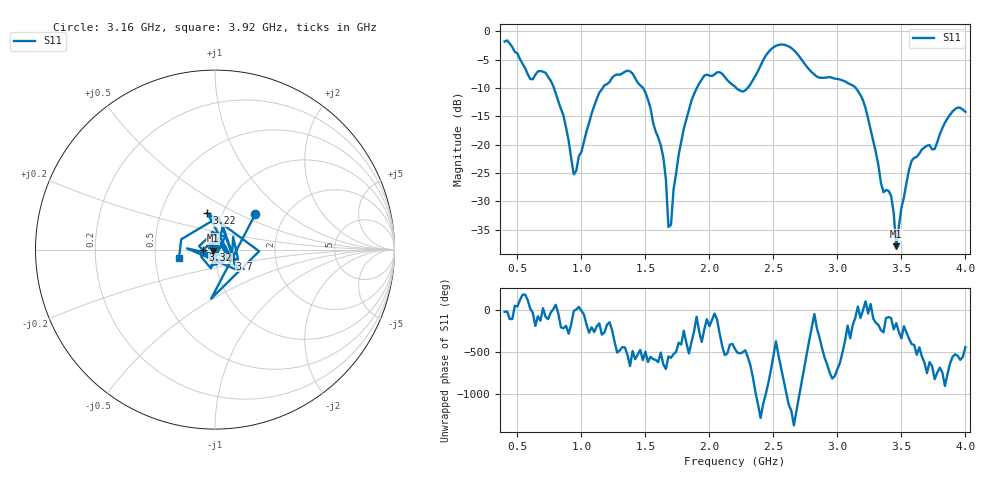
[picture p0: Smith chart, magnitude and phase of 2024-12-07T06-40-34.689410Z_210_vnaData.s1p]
!Created with skrf (http://scikit-rf.org).
# Hz S RI R 50.0
!freq ReS11 ImS11
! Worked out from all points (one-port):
!   181 points, 400 MHz to 4 GHz, reference 50 ohm
!   lowest |S11| = -37.9 dB at 3.46 GHz (marker M1), VSWR 1.03, Z = 48.8 - j0.496 ohm
!   |S11| at or under -10 dB: 785.5 MHz to 1.167 GHz (381.1 MHz wide, 39 % of centre); 1.482 GHz to 1.902 GHz (420.4 MHz wide, 24.8 % of centre); 3.143 GHz to end of sweep (the widest 3 of 4)
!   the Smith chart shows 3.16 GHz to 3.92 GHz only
!   S11 on the Smith chart (normalised r, x): 3.16 GHz: 1.42, +0.62; 3.22 GHz: 0.84, +0.36; 3.32 GHz: 0.88, -0.01; 3.7 GHz: 1.18, -0.12; 3.92 GHz: 0.66, -0.07
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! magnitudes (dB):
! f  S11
! 400 MHz  -1.8
! 600 MHz  -8.4
! 720 MHz  -7.3
! 860 MHz  -14.9
! 940 MHz  -25.2
! 1.14 GHz  -10.8
! 1.3 GHz  -7.7
! 1.52 GHz  -12.1
! 1.64 GHz  -22.2
! 1.68 GHz  -34.5
! 1.7 GHz  -34.1
! 1.76 GHz  -21.8
! 1.86 GHz  -12.2
! 1.96 GHz  -7.8
! 2.2 GHz  -9.8
! 2.5 GHz  -2.8
! 2.66 GHz  -3.3
! 3.1 GHz  -9.4
! 3.16 GHz  -10.5
! 3.22 GHz  -13.6
! 3.32 GHz  -23.6
! 3.36 GHz  -28.4
! 3.42 GHz  -29.0
! 3.46 GHz  -37.9
! 3.56 GHz  -24.4
! 3.7 GHz  -20.2
! 3.92 GHz  -13.7
! 4 GHz  -14.2
